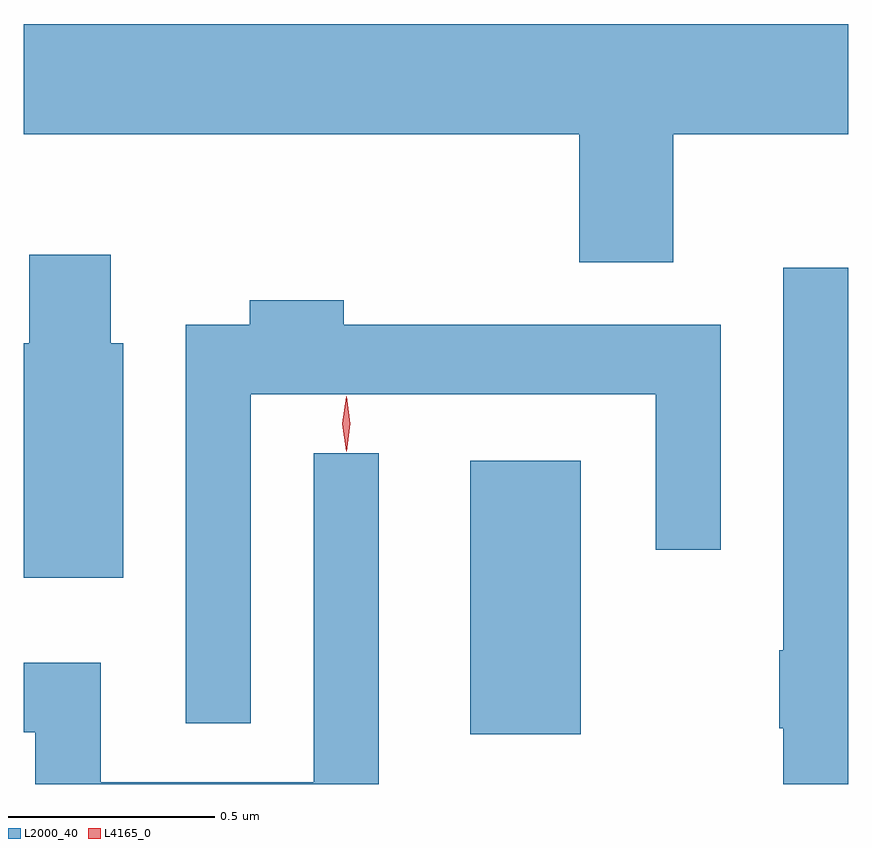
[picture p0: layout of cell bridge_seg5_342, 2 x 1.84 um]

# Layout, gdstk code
import gdstk
lib = gdstk.Library(unit=1e-6, precision=1e-09)
def R(c, l, rs):  # rectangles x0, y0, x1, y1
    for r in rs: c.add(gdstk.rectangle(r[:2], r[2:], *l))
def P(c, l, *ps):  # polygons
    for p in ps: c.add(gdstk.Polygon(p, *l))
L2000_40 = (2000, 40)
L4165_0 = (4165, 0)

bridge_seg5_342 = lib.new_cell('bridge_seg5_342')
R(bridge_seg5_342, L2000_40, [(711.796,1515.281,712.064,1515.944)])
P(bridge_seg5_342, L2000_40, [(712.289,1516.736),(712.713,1516.736),(712.713,1517.004),(710.713,1517.004),(710.713,1516.736),(712.061,1516.736),(712.061,1516.426),(712.289,1516.426)],
  [(710.954,1516.229),(710.924,1516.229),(710.924,1516.444),(710.726,1516.444),(710.726,1516.229),(710.713,1516.229),(710.713,1515.661),(710.954,1515.661)],
  [(712.713,1516.413),(712.556,1516.413),(712.556,1515.485),(712.546,1515.485),(712.546,1515.295),(712.556,1515.295),(712.556,1515.16),(712.713,1515.16)],
  [(711.264,1516.106),(712.246,1516.106),(712.246,1515.728),(712.404,1515.728),(712.404,1516.274),(711.489,1516.274),(711.489,1516.334),(711.261,1516.334),(711.261,1516.274),(711.106,1516.274),(711.106,1515.308),(711.264,1515.308)],
  [(711.574,1515.963),(711.416,1515.963),(711.416,1515.164),(710.899,1515.164),(710.899,1515.454),(710.713,1515.454),(710.713,1515.286),(710.741,1515.286),(710.741,1515.16),(711.574,1515.16)])
P(bridge_seg5_342, L4165_0, [(711.495,1515.967),(711.495,1515.967),(711.485,1516.034),(711.495,1516.1),(711.495,1516.101),(711.496,1516.1),(711.505,1516.034),(711.496,1515.967)])

lib.write_gds('bridge_seg5_342.gds')
